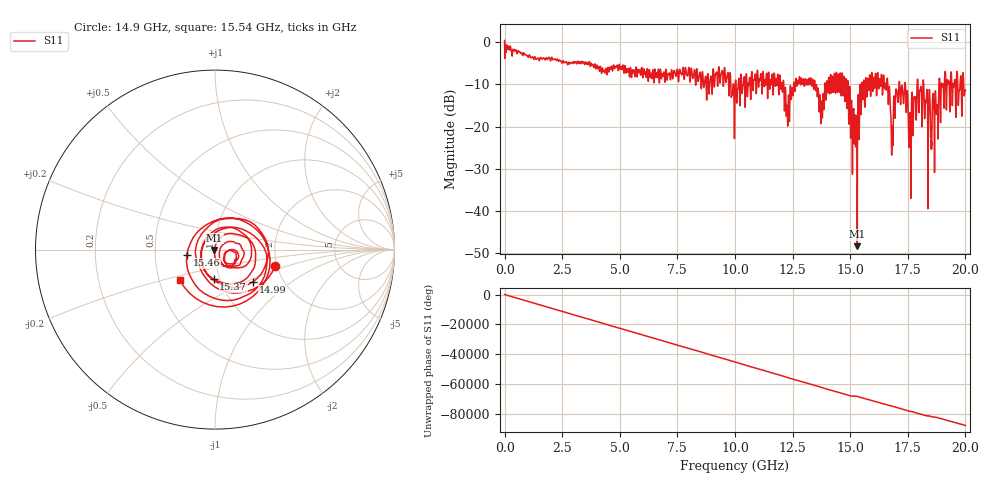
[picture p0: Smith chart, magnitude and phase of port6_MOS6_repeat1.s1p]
! MS46122B
! 2250307/22442219
! 7/22/2025 7:58:36 AM
! C:\USERS\SPARKY\DOCUMENTS\VNA_DATA\JULY22_2025\3K\PORT6_MOS6_REPEAT1.S1P
! CHANNEL.1
! TR.MEASUREMENT
! RAW.DATA
# GHZ S RI R 50.0
! FREQ.GHZ  S11RE  S11IM
!; PortSelection: Port_1
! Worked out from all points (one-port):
!   10001 points, 1 MHz to 20 GHz, reference 50 ohm
!   lowest |S11| = -48.3 dB at 15.31 GHz (marker M1), VSWR 1.01, Z = 49.7 - j0.176 ohm
!   |S11| at or under -10 dB: 14.91 GHz to 15.43 GHz (520.1 MHz wide, 3.43 % of centre); 17.39 GHz to 17.9 GHz (512.2 MHz wide, 2.9 % of centre); 18.19 GHz to 18.85 GHz (661.1 MHz wide, 3.57 % of centre) (the widest 3 of 88)
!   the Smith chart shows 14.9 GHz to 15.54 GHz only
!   S11 on the Smith chart (normalised r, x): 14.9 GHz: 1.95, -0.40; 14.99 GHz: 1.41, -0.55; 15.37 GHz: 0.93, -0.32; 15.46 GHz: 0.73, -0.04; 15.54 GHz: 0.64, -0.23
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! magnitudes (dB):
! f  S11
! 1 MHz  0.4
! 2.501 GHz  -4.9
! 5.001 GHz  -5.7
! 7.501 GHz  -6.4
! 9.481 GHz  -9.0
! 10 GHz  -11.9
! 11.78 GHz  -8.7
! 12.29 GHz  -18.8
! 12.5 GHz  -12.0
! 13.73 GHz  -19.3
! 14.23 GHz  -8.0
! 14.9 GHz  -9.2
! 14.99 GHz  -11.2
! 15 GHz  -14.2
! 15.31 GHz  -48.3
! 15.37 GHz  -15.7
! 15.46 GHz  -15.9
! 15.54 GHz  -11.8
! 16.27 GHz  -8.7
! 16.63 GHz  -9.7
! 16.84 GHz  -22.2
! 17.07 GHz  -14.0
! 17.5 GHz  -13.3
! 17.63 GHz  -37.0
! 17.99 GHz  -13.4
! 18.46 GHz  -13.5
! 19.05 GHz  -11.7
! 20 GHz  -11.5
